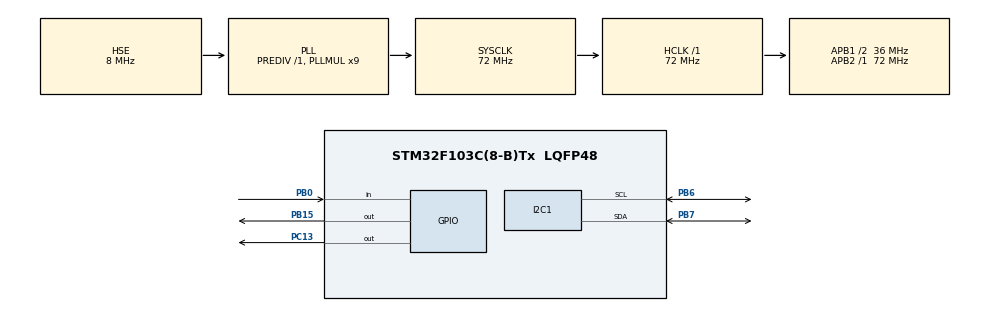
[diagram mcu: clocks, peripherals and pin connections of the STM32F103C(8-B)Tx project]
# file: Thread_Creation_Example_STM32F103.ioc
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FREERTOS.HEAP_NUMBER=4
FREERTOS.INCLUDE_vTaskCleanUpResources=1
FREERTOS.Tasks01=defaultTask,0,128,StartDefaultTask,Default,NULL,Dynamic,NULL,NULL
FREERTOS.configTOTAL_HEAP_SIZE=6072
I2C1.I2C_Mode=I2C_Fast
Mcu.Family=STM32F1
Mcu.Name=STM32F103C(8-B)Tx
Mcu.Package=LQFP48
NVIC.PriorityGroup=NVIC_PRIORITYGROUP_4
NVIC.TIM1_UP_IRQn=true\:0\:0\:false\:false\:true\:false\:false
NVIC.TimeBase=TIM1_UP_IRQn
NVIC.TimeBaseIP=TIM1
PA13.Mode=Serial_Wire
PA13.Signal=SYS_JTMS-SWDIO
PA14.Mode=Serial_Wire
PA14.Signal=SYS_JTCK-SWCLK
PB0.Signal=GPIO_Input
PB15.GPIO_ModeDefaultOutputPP=GPIO_MODE_OUTPUT_OD
PB15.GPIO_Speed=GPIO_SPEED_FREQ_HIGH
PB15.Signal=GPIO_Output
PB6.Mode=I2C
PB6.Signal=I2C1_SCL
PB7.Mode=I2C
PB7.Signal=I2C1_SDA
PC13-TAMPER-RTC.Signal=GPIO_Output
PD0-OSC_IN.Mode=HSE-External-Oscillator
PD0-OSC_IN.Signal=RCC_OSC_IN
PD1-OSC_OUT.Mode=HSE-External-Oscillator
PD1-OSC_OUT.Signal=RCC_OSC_OUT
ProjectManager.HeapSize=0x800
ProjectManager.StackSize=0x800
ProjectManager.TargetToolchain=EWARM
RCC.AHBFreq_Value=72000000
RCC.APB1CLKDivider=RCC_HCLK_DIV2
RCC.APB1Freq_Value=36000000
RCC.APB1TimFreq_Value=72000000
RCC.APB2Freq_Value=72000000
RCC.APB2TimFreq_Value=72000000
RCC.HCLKFreq_Value=72000000
RCC.PLLMUL=RCC_PLL_MUL9
RCC.PLLSourceVirtual=RCC_PLLSOURCE_HSE
RCC.SYSCLKFreq_VALUE=72000000
RCC.SYSCLKSource=RCC_SYSCLKSOURCE_PLLCLK
RCC.USBFreq_Value=72000000
RTC.Format=RTC_FORMAT_BCD
RTC.Hours=4
RTC.Minutes=55
RTC.Month=RTC_MONTH_MARCH
RTC.Seconds=0
RTC.WeekDay=RTC_WEEKDAY_TUESDAY
VP_FREERTOS_VS_ENABLE.Mode=Enabled
VP_RTC_No_RTC_Output.Mode=RTC_OUT_NO
VP_RTC_VS_RTC_Activate.Mode=RTC_Enabled
VP_SYS_VS_tim1.Mode=TIM1
board=Thread_Creation_Example_STM32F103

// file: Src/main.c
/**
  ******************************************************************************
  * File Name          : main.c
  * Description        : Main program body
  ******************************************************************************
  * This notice applies to any and all portions of this file
  * that are not between comment pairs USER CODE BEGIN and
  * USER CODE END. Other portions of this file, whether
  * inserted by the user or by software development tools
  * are owned by their respective copyright owners.
  *
  * Copyright (c) 2019 STMicroelectronics International N.V.
  * All rights reserved.
  *
  * Redistribution and use in source and binary forms, with or without
  * modification, are permitted, provided that the following conditions are met:
  *
  * 1. Redistribution of source code must retain the above copyright notice,
  *    this list of conditions and the following disclaimer.
  * 2. Redistributions in binary form must reproduce the above copyright notice,
  *    this list of conditions and the following disclaimer in the documentation
  *    and/or other materials provided with the distribution.
  * 3. Neither the name of STMicroelectronics nor the names of other
  *    contributors to this software may be used to endorse or promote products
  *    derived from this software without specific written permission.
  * 4. This software, including modifications and/or derivative works of this
  *    software, must execute solely and exclusively on microcontroller or
  *    microprocessor devices manufactured by or for STMicroelectronics.
  * 5. Redistribution and use of this software other than as permitted under
  *    this license is void and will automatically terminate your rights under
  *    this license.
  *
  * THIS SOFTWARE IS PROVIDED BY STMICROELECTRONICS AND CONTRIBUTORS "AS IS"
  * AND ANY EXPRESS, IMPLIED OR STATUTORY WARRANTIES, INCLUDING, BUT NOT
  * LIMITED TO, THE IMPLIED WARRANTIES OF MERCHANTABILITY, FITNESS FOR A
  * PARTICULAR PURPOSE AND NON-INFRINGEMENT OF THIRD PARTY INTELLECTUAL PROPERTY
  * RIGHTS ARE DISCLAIMED TO THE FULLEST EXTENT PERMITTED BY LAW. IN NO EVENT
  * SHALL STMICROELECTRONICS OR CONTRIBUTORS BE LIABLE FOR ANY DIRECT, INDIRECT,
  * INCIDENTAL, SPECIAL, EXEMPLARY, OR CONSEQUENTIAL DAMAGES (INCLUDING, BUT NOT
  * LIMITED TO, PROCUREMENT OF SUBSTITUTE GOODS OR SERVICES; LOSS OF USE, DATA,
  * OR PROFITS; OR BUSINESS INTERRUPTION) HOWEVER CAUSED AND ON ANY THEORY OF
  * LIABILITY, WHETHER IN CONTRACT, STRICT LIABILITY, OR TORT (INCLUDING
  * NEGLIGENCE OR OTHERWISE) ARISING IN ANY WAY OUT OF THE USE OF THIS SOFTWARE,
  * EVEN IF ADVISED OF THE POSSIBILITY OF SUCH DAMAGE.
  *
  ******************************************************************************
  */
#include "main.h"
#include "stm32f1xx_hal.h"
#include "cmsis_os.h"

/* USER CODE BEGIN Includes */
#include "SSD1602.h"
#include "DS18B20.h"
#include "stdio.h"
#include "stdlib.h"
/* USER CODE END Includes */

I2C_HandleTypeDef hi2c1;

RTC_HandleTypeDef hrtc;

osThreadId defaultTaskHandle;

/* USER CODE BEGIN PV */
/* Private variables ---------------------------------------------------------*/
osThreadId ledTask, printTask, tempTask, rtcTask;
char count[20];
char heapSizeFree[20];

RTC_TimeTypeDef Time;
RTC_DateTypeDef Date;

/* USER CODE END PV */

void SystemClock_Config(void);
static void MX_GPIO_Init(void);
static void MX_I2C1_Init(void);
static void MX_RTC_Init(void);
void StartDefaultTask(void const * argument);

/* USER CODE BEGIN PFP */
/* Private function prototypes -----------------------------------------------*/
void LedTaskToggle();
void PrintOLED();
void LedTaskToggle2();
void TempMesure(void const * argument);
void RTC_Task();
/* USER CODE END PFP */

int main(void)
{

  /* MCU Configuration----------------------------------------------------------*/

  /* Reset of all peripherals, Initializes the Flash interface and the Systick. */
  HAL_Init();

  /* Configure the system clock */
  SystemClock_Config();

  /* Initialize all configured peripherals */
  MX_GPIO_Init();
  MX_I2C1_Init();
  MX_RTC_Init();

  /* USER CODE BEGIN 2 */
  HAL_Delay(100);
  OLED_init(&hi2c1);
  LCD_Clear(&hi2c1);
  ds18b20_init(SKIP_MODE);

  /* USER CODE END 2 */

  /* Create the thread(s) */
  /* definition and creation of defaultTask */
  osThreadDef(defaultTask, StartDefaultTask, osPriorityIdle, 0, 128);
  defaultTaskHandle = osThreadCreate(osThread(defaultTask), NULL);

  /* USER CODE BEGIN RTOS_THREADS */
  /* add threads, ... */

  osThreadDef(toggleLedTask, LedTaskToggle, osPriorityIdle, 0, configMINIMAL_STACK_SIZE);
  ledTask = osThreadCreate(osThread(toggleLedTask),NULL);

  osThreadDef(printOLED, PrintOLED, osPriorityIdle, 0, configMINIMAL_STACK_SIZE);
  printTask = osThreadCreate(osThread(printOLED),NULL);

  osThreadDef(temperTask, TempMesure, osPriorityIdle, 0, configMINIMAL_STACK_SIZE);
  tempTask = osThreadCreate(osThread(temperTask),NULL);

  osThreadDef(rtcTask, RTC_Task, osPriorityIdle, 0, configMINIMAL_STACK_SIZE);
  rtcTask = osThreadCreate(osThread(rtcTask),NULL);

  /* USER CODE END RTOS_THREADS */

  /* Start scheduler */
  osKernelStart();

  /* We should never get here as control is now taken by the scheduler */

  /* Infinite loop */
  while (1)
  {

  }

}

/** System Clock Configuration
*/
void SystemClock_Config(void)
{

  RCC_OscInitTypeDef RCC_OscInitStruct;
  RCC_ClkInitTypeDef RCC_ClkInitStruct;
  RCC_PeriphCLKInitTypeDef PeriphClkInit;

    /**Initializes the CPU, AHB and APB busses clocks
    */
  RCC_OscInitStruct.OscillatorType = RCC_OSCILLATORTYPE_LSI|RCC_OSCILLATORTYPE_HSE;
  RCC_OscInitStruct.HSEState = RCC_HSE_ON;
  RCC_OscInitStruct.HSEPredivValue = RCC_HSE_PREDIV_DIV1;
  RCC_OscInitStruct.HSIState = RCC_HSI_ON;
  RCC_OscInitStruct.LSIState = RCC_LSI_ON;
  RCC_OscInitStruct.PLL.PLLState = RCC_PLL_ON;
  RCC_OscInitStruct.PLL.PLLSource = RCC_PLLSOURCE_HSE;
  RCC_OscInitStruct.PLL.PLLMUL = RCC_PLL_MUL9;
  if (HAL_RCC_OscConfig(&RCC_OscInitStruct) != HAL_OK)
  {
    _Error_Handler(__FILE__, __LINE__);
  }

    /**Initializes the CPU, AHB and APB busses clocks
    */
  RCC_ClkInitStruct.ClockType = RCC_CLOCKTYPE_HCLK|RCC_CLOCKTYPE_SYSCLK
                              |RCC_CLOCKTYPE_PCLK1|RCC_CLOCKTYPE_PCLK2;
  RCC_ClkInitStruct.SYSCLKSource = RCC_SYSCLKSOURCE_PLLCLK;
  RCC_ClkInitStruct.AHBCLKDivider = RCC_SYSCLK_DIV1;
  RCC_ClkInitStruct.APB1CLKDivider = RCC_HCLK_DIV2;
  RCC_ClkInitStruct.APB2CLKDivider = RCC_HCLK_DIV1;

  if (HAL_RCC_ClockConfig(&RCC_ClkInitStruct, FLASH_LATENCY_2) != HAL_OK)
  {
    _Error_Handler(__FILE__, __LINE__);
  }

  PeriphClkInit.PeriphClockSelection = RCC_PERIPHCLK_RTC;
  PeriphClkInit.RTCClockSelection = RCC_RTCCLKSOURCE_LSI;
  if (HAL_RCCEx_PeriphCLKConfig(&PeriphClkInit) != HAL_OK)
  {
    _Error_Handler(__FILE__, __LINE__);
  }

    /**Configure the Systick interrupt time
    */
  HAL_SYSTICK_Config(HAL_RCC_GetHCLKFreq()/1000);

    /**Configure the Systick
    */
  HAL_SYSTICK_CLKSourceConfig(SYSTICK_CLKSOURCE_HCLK);

  /* SysTick_IRQn interrupt configuration */
  HAL_NVIC_SetPriority(SysTick_IRQn, 15, 0);
}

/* I2C1 init function */
static void MX_I2C1_Init(void)
{

  hi2c1.Instance = I2C1;
  hi2c1.Init.ClockSpeed = 400000;
  hi2c1.Init.DutyCycle = I2C_DUTYCYCLE_2;
  hi2c1.Init.OwnAddress1 = 0;
  hi2c1.Init.AddressingMode = I2C_ADDRESSINGMODE_7BIT;
  hi2c1.Init.DualAddressMode = I2C_DUALADDRESS_DISABLE;
  hi2c1.Init.OwnAddress2 = 0;
  hi2c1.Init.GeneralCallMode = I2C_GENERALCALL_DISABLE;
  hi2c1.Init.NoStretchMode = I2C_NOSTRETCH_DISABLE;
  if (HAL_I2C_Init(&hi2c1) != HAL_OK)
  {
    _Error_Handler(__FILE__, __LINE__);
  }

}

/* RTC init function */
static void MX_RTC_Init(void)
{

  RTC_TimeTypeDef sTime;
  RTC_DateTypeDef DateToUpdate;

    /**Initialize RTC Only
    */
  hrtc.Instance = RTC;
  hrtc.Init.AsynchPrediv = RTC_AUTO_1_SECOND;
  hrtc.Init.OutPut = RTC_OUTPUTSOURCE_NONE;
  if (HAL_RTC_Init(&hrtc) != HAL_OK)
  {
    _Error_Handler(__FILE__, __LINE__);
  }

    /**Initialize RTC and set the Time and Date
    */
  if(HAL_RTCEx_BKUPRead(&hrtc, RTC_BKP_DR1) != 0x32F2){
  sTime.Hours = 0x4;
  sTime.Minutes = 0x55;
  sTime.Seconds = 0x0;

  if (HAL_RTC_SetTime(&hrtc, &sTime, RTC_FORMAT_BCD) != HAL_OK)
  {
    _Error_Handler(__FILE__, __LINE__);
  }

  DateToUpdate.WeekDay = RTC_WEEKDAY_TUESDAY;
  DateToUpdate.Month = RTC_MONTH_MARCH;
  DateToUpdate.Date = 0x1;
  DateToUpdate.Year = 0x0;

  if (HAL_RTC_SetDate(&hrtc, &DateToUpdate, RTC_FORMAT_BCD) != HAL_OK)
  {
    _Error_Handler(__FILE__, __LINE__);
  }

    HAL_RTCEx_BKUPWrite(&hrtc,RTC_BKP_DR1,0x32F2);
  }

}

/** Configure pins as
        * Analog
        * Input
        * Output
        * EVENT_OUT
        * EXTI
*/
static void MX_GPIO_Init(void)
{

  GPIO_InitTypeDef GPIO_InitStruct;

  /* GPIO Ports Clock Enable */
  __HAL_RCC_GPIOC_CLK_ENABLE();
  __HAL_RCC_GPIOD_CLK_ENABLE();
  __HAL_RCC_GPIOB_CLK_ENABLE();
  __HAL_RCC_GPIOA_CLK_ENABLE();

  /*Configure GPIO pin Output Level */
  HAL_GPIO_WritePin(GPIOC, GPIO_PIN_13, GPIO_PIN_RESET);

  /*Configure GPIO pin Output Level */
  HAL_GPIO_WritePin(GPIOB, GPIO_PIN_15, GPIO_PIN_RESET);

  /*Configure GPIO pin : PC13 */
  GPIO_InitStruct.Pin = GPIO_PIN_13;
  GPIO_InitStruct.Mode = GPIO_MODE_OUTPUT_PP;
  GPIO_InitStruct.Speed = GPIO_SPEED_FREQ_LOW;
  HAL_GPIO_Init(GPIOC, &GPIO_InitStruct);

  /*Configure GPIO pin : PB0 */
  GPIO_InitStruct.Pin = GPIO_PIN_0;
  GPIO_InitStruct.Mode = GPIO_MODE_INPUT;
  GPIO_InitStruct.Pull = GPIO_NOPULL;
  HAL_GPIO_Init(GPIOB, &GPIO_InitStruct);

  /*Configure GPIO pin : PB15 */
  GPIO_InitStruct.Pin = GPIO_PIN_15;
  GPIO_InitStruct.Mode = GPIO_MODE_OUTPUT_OD;
  GPIO_InitStruct.Speed = GPIO_SPEED_FREQ_HIGH;
  HAL_GPIO_Init(GPIOB, &GPIO_InitStruct);

}

/* USER CODE BEGIN 4 */
void PrintOLED(void const * argument)
{
  for(int i = 0; i < 20; i++)
    {
      HAL_Delay(500);
      sprintf(count,"%d ", i);
      LCD_Goto(&hi2c1, 0,4);
      OLED_string(&hi2c1," Task 2: ");
      LCD_Goto(&hi2c1, 50,4);
      OLED_string(&hi2c1,count);
    }
  osThreadDef(toggleLedTask, LedTaskToggle2, osPriorityIdle, 0, configMINIMAL_STACK_SIZE);
  ledTask = osThreadCreate(osThread(toggleLedTask),NULL);

  sprintf(heapSizeFree,"%d", xPortGetFreeHeapSize());
  LCD_Goto(&hi2c1, 70,5);
  OLED_string(&hi2c1,heapSizeFree);

  LCD_Goto(&hi2c1, 0,5);
  OLED_string(&hi2c1," Free Size:");
  osThreadSetPriority(ledTask, osPriorityIdle);

  osThreadTerminate(printTask);
}
void LedTaskToggle(void const * argument)
{
  for(int i = 0; i < 25; i++)
    {
      HAL_Delay(200);
      HAL_GPIO_TogglePin(GPIOC, GPIO_PIN_13);
      osDelay(10);
      LCD_Goto(&hi2c1, 0, 3);
      OLED_string(&hi2c1, " Task 1:");
      sprintf(count, "%d", i);
      LCD_Goto(&hi2c1, 50, 3);
      OLED_string(&hi2c1, count);
    }
  sprintf(heapSizeFree,"%d", xPortGetFreeHeapSize());
  LCD_Goto(&hi2c1, 70,5);
  OLED_string(&hi2c1,heapSizeFree);

  LCD_Goto(&hi2c1, 0,5);
  OLED_string(&hi2c1," Free Size:");

  LCD_Goto(&hi2c1, 50, 3);
  OLED_string(&hi2c1, "  ");

  osThreadTerminate(ledTask);
  //vTaskDelete(ledTask);
}
void LedTaskToggle2(void const * argument)
{
  for(int i = 0; i < 12; i++)
    {
      HAL_Delay(417);
      HAL_GPIO_TogglePin(GPIOC, GPIO_PIN_13);
      osDelay(10);
      LCD_Goto(&hi2c1, 0, 3);
      OLED_string(&hi2c1, " Task 1:");
      sprintf(count, "%d", i);
      LCD_Goto(&hi2c1, 50, 3);
      OLED_string(&hi2c1, count);
    }
  osThreadDef(printOLED, PrintOLED, osPriorityIdle, 0, configMINIMAL_STACK_SIZE);
  printTask = osThreadCreate(osThread(printOLED),NULL);

  sprintf(heapSizeFree,"%d", xPortGetFreeHeapSize());
  LCD_Goto(&hi2c1, 70,5);
  OLED_string(&hi2c1,heapSizeFree);

  LCD_Goto(&hi2c1, 0,5);
  OLED_string(&hi2c1," Free Size:");

  LCD_Goto(&hi2c1, 50, 3);
  OLED_string(&hi2c1, "  ");

  osThreadTerminate(ledTask);
}

void TempMesure(void const * argument)
{
  uint8_t dt[8];
  uint16_t raw_temper;
  float temper;
  char signe;
  char printTemp[8];

  for(;;)
  {
    ds18b20_MeasureTemperCmd(SKIP_MODE);
    HAL_Delay(800);
    ds18b20_ReadStratcpad(SKIP_MODE, dt);
    raw_temper = ((uint16_t)dt[1]<<8)|dt[0];
    if(ds18b20_GetSign(raw_temper)) signe = '+';
    else signe = '-';
    temper = ds18b20_Convert(raw_temper);

    sprintf(printTemp, " Temp:%c%.1fC", signe, temper);
    LCD_Goto(&hi2c1, 0,7);
    OLED_string(&hi2c1, printTemp);
    osDelay(500);
   }

}

void RTC_Task()
{
  char clock[8];
  char date[10];

  Time.Hours = 0x13;
  Time.Minutes = 0xC;
  Time.Seconds = 0x00;
  HAL_RTC_SetTime(&hrtc, &Time, RTC_FORMAT_BIN);

  Date.Year = 0x13;
  Date.Month = RTC_MONTH_MARCH;
  Date.Date = 0x05;
  HAL_RTC_SetDate(&hrtc, &Date, RTC_FORMAT_BIN);

  for(;;)
  {
    osDelay(125);
    /**/
    HAL_RTC_GetTime(&hrtc, &Time, RTC_FORMAT_BIN);
    sprintf(clock, "Time %.2d:%.2d:%.2d", Time.Hours, Time.Minutes, Time.Seconds);
    LCD_Goto(&hi2c1, 49,0);
    OLED_string(&hi2c1, clock);
    osDelay(250);
    HAL_RTC_GetDate(&hrtc, &Date, RTC_FORMAT_BIN);
    sprintf(date, "Date %.2d:%.2d:%.2d", Date.Date, Date.Month, Date.Year);
    LCD_Goto(&hi2c1, 50,1);
    OLED_string(&hi2c1, date);
  }
}
/* USER CODE END 4 */

/* StartDefaultTask function */
void StartDefaultTask(void const * argument)
{

  for(;;)
  {
  }
}

void HAL_TIM_PeriodElapsedCallback(TIM_HandleTypeDef *htim)
{
  if (htim->Instance == TIM1) {
    HAL_IncTick();
  }
}

void _Error_Handler(char * file, int line)
{
  while(1)
  {
  }
}

/************************ (C) COPYRIGHT STMicroelectronics *****END OF FILE****/
